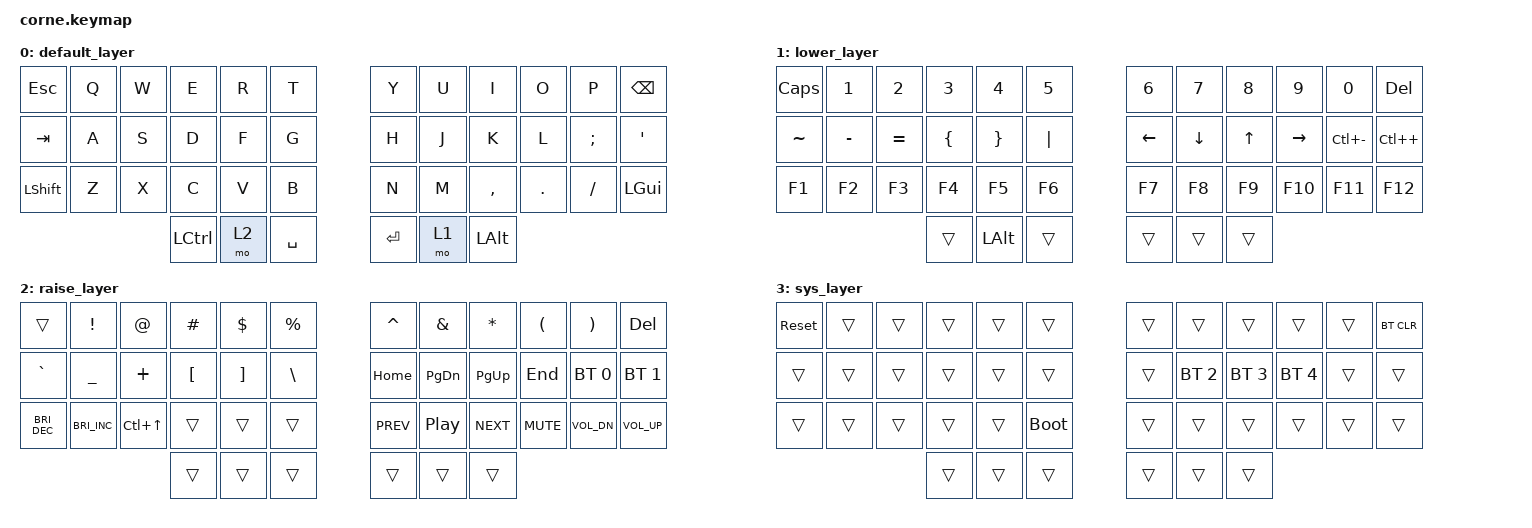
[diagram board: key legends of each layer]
/*
 * Copyright (c) 2020 The ZMK Contributors
 *
 * SPDX-License-Identifier: MIT
 */

#include <behaviors.dtsi>
#include <dt-bindings/zmk/bt.h>
#include <dt-bindings/zmk/keys.h>

/ {
    keymap {
        compatible = "zmk,keymap";

        default_layer {
            // -----------------------------------------------------------------------------------------
            // |  TAB |  Q  |  W  |  E  |  R  |  T  |   |  Y  |  U   |  I  |  O  |  P  | BSPC |
            // | CTRL |  A  |  S  |  D  |  F  |  G  |   |  H  |  J   |  K  |  L  |  ;  |  '   |
            // | SHFT |  Z  |  X  |  C  |  V  |  B  |   |  N  |  M   |  ,  |  .  |  /  | ESC  |
            //                    | GUI | LWR | SPC |   | ENT | RSE  | ALT |

            bindings = <
&kp ESCAPE  &kp Q  &kp W  &kp E             &kp R  &kp T        &kp Y    &kp U  &kp I         &kp O    &kp P     &kp BSPC
&kp TAB     &kp A  &kp S  &kp D             &kp F  &kp G        &kp H    &kp J  &kp K         &kp L    &kp SEMI  &kp SQT
&kp LSHFT   &kp Z  &kp X  &kp C             &kp V  &kp B        &kp N    &kp M  &kp COMMA     &kp DOT  &kp FSLH  &kp LEFT_GUI
                          &kp LEFT_CONTROL  &mo 2  &kp SPACE    &kp RET  &mo 1  &kp LEFT_ALT
            >;
        };

        lower_layer {
            // -----------------------------------------------------------------------------------------
            // |  TAB |  !  |  @  |  #  |  $  |  %  |   |  ^  |  &  |  *  |  (  |  )  | BSPC |
            // | CTRL |     |     |     |     |     |   |  -  |  =  |  [  |  ]  |  \  |  `   |
            // | SHFT |     |     |     |     |     |   |  _  |  +  |  {  |  }  | "|" |  ~   |
            //                    | GUI |     | SPC |   | ENT |     | ALT |

            bindings = <
&kp CAPSLOCK  &kp NUMBER_1  &kp NUMBER_2  &kp NUMBER_3    &kp NUMBER_4     &kp NUMBER_5    &kp NUMBER_6  &kp NUMBER_7  &kp NUMBER_8  &kp NUMBER_9  &kp NUMBER_0   &kp DELETE
&kp TILDE     &kp MINUS     &kp EQUAL     &kp LEFT_BRACE  &kp RIGHT_BRACE  &kp PIPE        &kp LEFT      &kp DOWN      &kp UP        &kp RIGHT     &kp LC(MINUS)  &kp LC(PLUS)
&kp F1        &kp F2        &kp F3        &kp F4          &kp F5           &kp F6          &kp F7        &kp F8        &kp F9        &kp F10       &kp F11        &kp F12
                                          &trans          &kp LEFT_ALT     &trans          &trans        &trans        &trans
            >;
        };

        raise_layer {
            // -----------------------------------------------------------------------------------------
            // |  TAB |  1  |  2  |  3  |  4  |  5  |   |  6  |  7  |  8  |  9  |  0  | BSPC |
            // | BTCLR| BT1 | BT2 | BT3 | BT4 | BT5 |   | LFT | DWN |  UP | RGT |     |      |
            // | SHFT |     |     |     |     |     |   |     |     |     |     |     |      |
            //                    | GUI |     | SPC |   | ENT |     | ALT |

            bindings = <
&trans                &kp EXCLAMATION       &kp AT_SIGN       &kp HASH          &kp DOLLAR         &kp PERCENT      &kp CARET   &kp AMPERSAND     &kp ASTERISK  &kp LEFT_PARENTHESIS  &kp RIGHT_PARENTHESIS  &kp DELETE
&kp GRAVE             &kp UNDERSCORE        &kp PLUS          &kp LEFT_BRACKET  &kp RIGHT_BRACKET  &kp BACKSLASH    &kp HOME    &kp PAGE_DOWN     &kp PAGE_UP   &kp END               &bt BT_SEL 0           &bt BT_SEL 1
&kp C_BRIGHTNESS_DEC  &kp C_BRIGHTNESS_INC  &kp LC(UP_ARROW)  &trans            &trans             &trans           &kp C_PREV  &kp C_PLAY_PAUSE  &kp C_NEXT    &kp C_MUTE            &kp C_VOL_DN           &kp C_VOLUME_UP
                                                              &trans            &trans             &trans           &trans      &trans            &trans
            >;
        };

        sys_layer {
            bindings = <
&sys_reset  &trans  &trans  &trans  &trans  &trans         &trans  &trans        &trans        &trans        &trans  &bt BT_CLR
&trans      &trans  &trans  &trans  &trans  &trans         &trans  &bt BT_SEL 2  &bt BT_SEL 3  &bt BT_SEL 4  &trans  &trans
&trans      &trans  &trans  &trans  &trans  &bootloader    &trans  &trans        &trans        &trans        &trans  &trans
                            &trans  &trans  &trans         &trans  &trans        &trans
            >;
        };
    };

    conditional_layers {
        compatible = "zmk,conditional-layers";

        tri {
            if-layers = <1 2>;
            then-layer = <3>;
        };
    };
};
